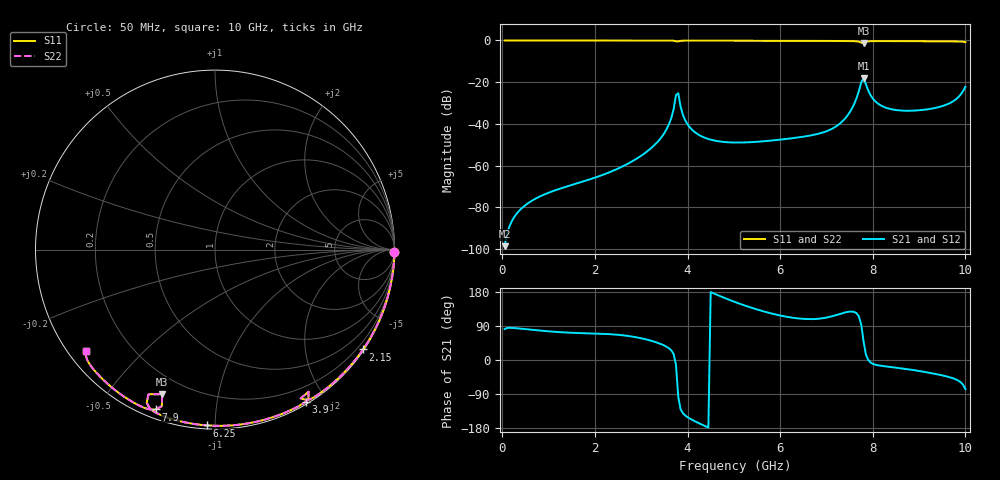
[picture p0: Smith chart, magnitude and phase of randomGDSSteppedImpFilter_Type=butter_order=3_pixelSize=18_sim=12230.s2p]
! freq	dB(S11)	phase(S11)	dB(S12)	phase(S12)
!  dB(S21)	phase(S21)	dB(S22)	phase(S22)
!S-par simulation data
#  GHz  S  DB  R 50
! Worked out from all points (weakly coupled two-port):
!   200 points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, 50 MHz to 10 GHz, reference 50 ohm
!   highest |S21| = -18.12 dB at 7.8 GHz (marker M1); lowest = -98.5 dB at 50 MHz (marker M2)
!   lowest |S11| = -1.3 dB at 7.8 GHz (marker M3), VSWR 13.02, Z = 5.7 - j34.7 ohm
!   |S11| at or under -10 dB: nowhere
!   |S22| runs from -1.3 to 0.0 dB; largest |S21 - S12| = 0
!   S11 on the Smith chart (normalised r, x): 50 MHz: open; 2.15 GHz: 0.03, -3.27; 3.9 GHz: 0.03, -1.76; 6.25 GHz: 0.02, -0.96; 7.9 GHz: 0.04, -0.70; 10 GHz: 0.05, -0.34
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0.05  -0.00 -0.8  -98.55 81.4  -98.55 81.4  -0.00 -0.8
0.45  -0.01 -7.2  -79.78 82.2  -79.78 82.2  -0.01 -7.2
1.75  -0.04 -27.8  -67.53 70.8  -67.53 70.8  -0.04 -27.8
2.15  -0.04 -34.0  -64.55 69.2  -64.55 69.2  -0.04 -34.0
2.9  -0.06 -45.5  -56.67 59.8  -56.67 59.8  -0.06 -45.5
3.4  -0.07 -53.1  -47.40 43.3  -47.40 43.3  -0.07 -53.1
3.65  -0.10 -57.3  -37.10 25.3  -37.10 25.3  -0.10 -57.3
3.75  -0.39 -60.1  -26.24 -12.3  -26.24 -12.3  -0.39 -60.1
3.8  -0.46 -56.6  -25.27 -97.4  -25.27 -97.4  -0.47 -56.6
3.9  -0.12 -59.2  -35.63 -140.4  -35.63 -140.4  -0.12 -59.2
4.3  -0.10 -65.6  -45.91 -169.9  -45.91 -169.9  -0.10 -65.6
5.05  -0.12 -76.3  -48.91 151.9  -48.91 151.9  -0.12 -76.3
6.25  -0.17 -92.5  -46.87 111.9  -46.87 111.9  -0.17 -92.5
6.7  -0.20 -98.5  -45.33 107.9  -45.33 107.9  -0.20 -98.5
7.4  -0.26 -108.1  -37.44 125.3  -37.44 125.3  -0.26 -108.1
7.6  -0.35 -111.5  -30.40 126.7  -30.40 126.7  -0.35 -111.5
7.8  -1.34 -110.1  -18.12 49.9  -18.12 49.9  -1.33 -110.1
7.9  -0.45 -110.3  -23.87 0.4  -23.87 0.4  -0.45 -110.3
8.35  -0.30 -118.2  -32.67 -17.8  -32.67 -17.8  -0.30 -118.2
9.45  -0.41 -132.5  -31.78 -39.3  -31.78 -39.3  -0.41 -132.5
9.8  -0.48 -137.6  -28.11 -51.5  -28.11 -51.5  -0.48 -137.6
10  -0.79 -141.9  -22.17 -76.7  -22.17 -76.7  -0.80 -142.0
